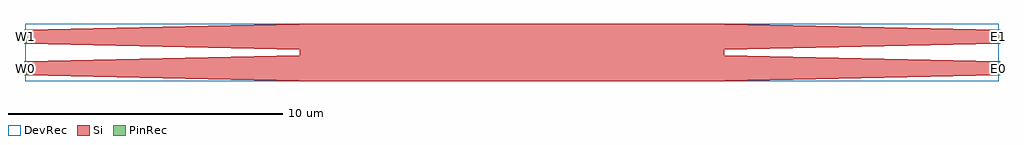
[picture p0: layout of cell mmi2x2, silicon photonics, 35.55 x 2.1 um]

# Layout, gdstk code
import gdstk
lib = gdstk.Library(unit=1e-6, precision=1e-09)
def R(c, l, rs):  # rectangles x0, y0, x1, y1
    for r in rs: c.add(gdstk.rectangle(r[:2], r[2:], *l))
def P(c, l, *ps):  # polygons
    for p in ps: c.add(gdstk.Polygon(p, *l))
Si = (1, 0)
PinRec = (1, 10)
DevRec = (68, 0)

mmi2x2 = lib.new_cell('mmi2x2')
R(mmi2x2, Si, [(0,0,15.45,2.1)])
P(mmi2x2, Si, [(25.45,0.225),(15.45,0),(15.45,0.95),(25.45,0.725)],
  [(25.45,1.375),(15.45,1.15),(15.45,2.1),(25.45,1.875)],
  [(-10,0.725),(0,0.95),(0,0),(-10,0.225)],
  [(-10,1.875),(0,2.1),(0,1.15),(-10,1.375)])
R(mmi2x2, PinRec, [(-10.05,0.225,-9.95,0.725), (25.4,0.225,25.5,0.725), (-10.05,1.375,-9.95,1.875), (25.4,1.375,25.5,1.875)])
R(mmi2x2, DevRec, [(-10,0,25.45,2.1)])
mmi2x2.add(gdstk.Label('E0', (25.45,0.475), layer=1, texttype=10))
mmi2x2.add(gdstk.Label('E1', (25.45,1.625), layer=1, texttype=10))
mmi2x2.add(gdstk.Label('W0', (-10,0.475), layer=1, texttype=10))
mmi2x2.add(gdstk.Label('W1', (-10,1.625), layer=1, texttype=10))

lib.write_gds('mmi2x2.gds')
